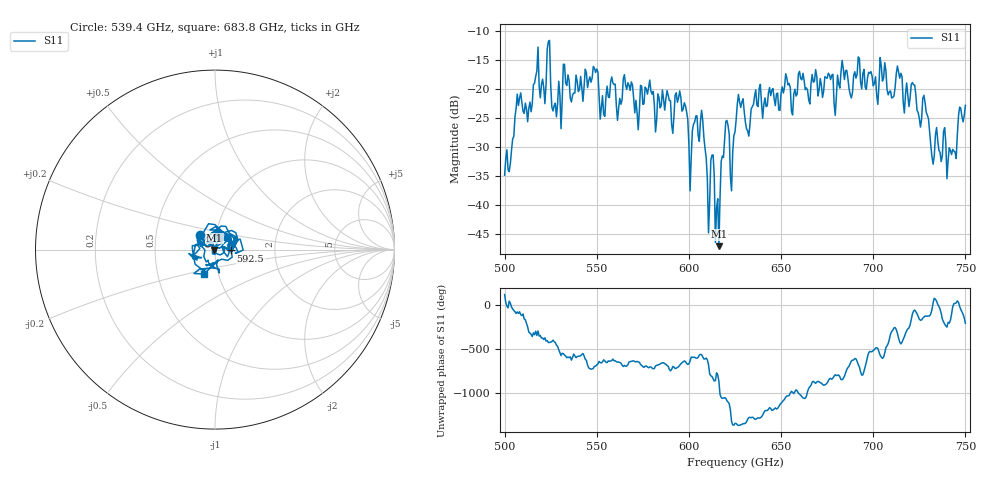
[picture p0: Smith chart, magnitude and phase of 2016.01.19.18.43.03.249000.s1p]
!Created with skrf (http://scikit-rf.org).
# GHz S RI R 50.0
!freq ReS11 ImS11
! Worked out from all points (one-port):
!   401 points, 500 GHz to 750 GHz, reference 50 ohm
!   lowest |S11| = -47.1 dB at 616.2 GHz (marker M1), VSWR 1.01, Z = 49.6 - j0.244 ohm
!   |S11| at or under -10 dB: start of sweep to end of sweep
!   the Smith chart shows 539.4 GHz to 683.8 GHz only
!   S11 on the Smith chart (normalised r, x): 539.4 GHz: 0.84, +0.14; 592.5 GHz: 1.19, -0.01; 683.8 GHz: 0.85, -0.24
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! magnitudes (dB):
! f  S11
! 500 GHz  -34.9
! 507.5 GHz  -22.8
! 513.8 GHz  -22.2
! 516.9 GHz  -17.8
! 531.2 GHz  -21.9
! 539.4 GHz  -18.7
! 549.4 GHz  -17.1
! 553.1 GHz  -21.1
! 558.8 GHz  -18.9
! 562.5 GHz  -21.6
! 592.5 GHz  -21.1
! 593.8 GHz  -22.3
! 600.6 GHz  -37.6
! 607.5 GHz  -25.4
! 610 GHz  -35.5
! 616.2 GHz  -47.1
! 620 GHz  -25.6
! 623.8 GHz  -30.9
! 625 GHz  -27.4
! 628.1 GHz  -23.1
! 631.9 GHz  -27.2
! 637.5 GHz  -23.0
! 656.2 GHz  -24.5
! 683.8 GHz  -16.5
! 687.5 GHz  -20.9
! 718.8 GHz  -21.1
! 741.2 GHz  -30.1
! 750 GHz  -22.8
